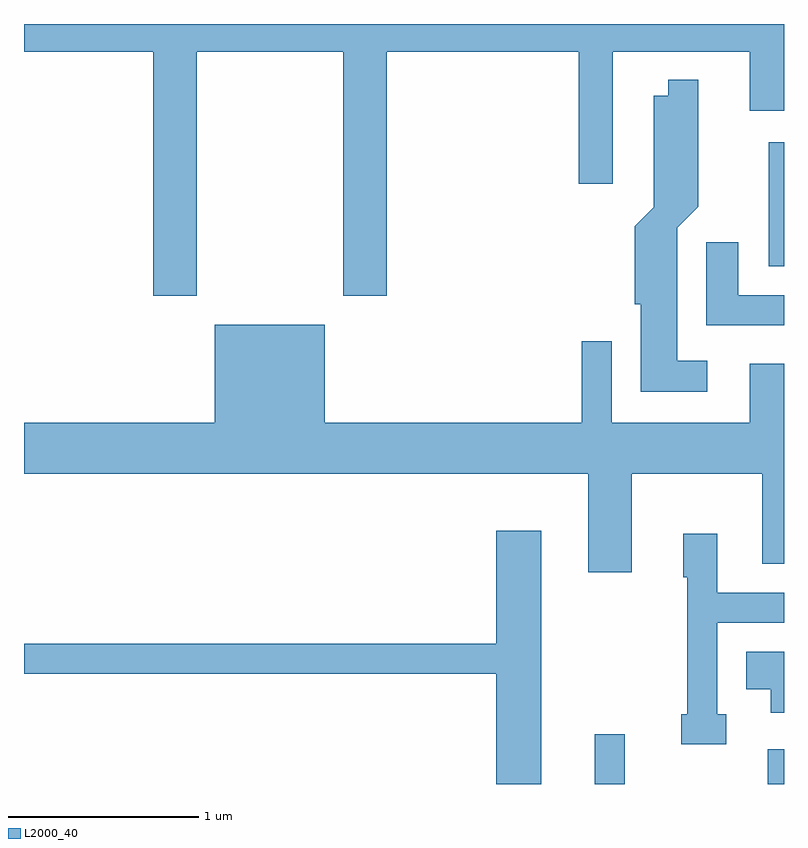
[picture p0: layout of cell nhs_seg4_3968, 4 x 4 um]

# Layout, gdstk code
import gdstk
lib = gdstk.Library(unit=1e-6, precision=1e-09)
def R(c, l, rs):  # rectangles x0, y0, x1, y1
    for r in rs: c.add(gdstk.rectangle(r[:2], r[2:], *l))
def P(c, l, *ps):  # polygons
    for p in ps: c.add(gdstk.Polygon(p, *l))
L2000_40 = (2000, 40)

nhs_seg4_3968 = lib.new_cell('nhs_seg4_3968')
R(nhs_seg4_3968, L2000_40, [(304.616,1301.982,304.774,1302.243), (305.526,1301.982,305.611,1302.164), (305.531,1304.706,305.611,1305.359)])
P(nhs_seg4_3968, L2000_40, [(302.519,1305.836),(303.291,1305.836),(303.291,1304.551),(303.519,1304.551),(303.519,1305.836),(304.531,1305.836),(304.531,1305.141),(304.709,1305.141),(304.709,1305.836),(305.431,1305.836),(305.431,1305.526),(305.611,1305.526),(305.611,1305.982),(301.611,1305.982),(301.611,1305.836),(302.291,1305.836),(302.291,1304.551),(302.519,1304.551)],
  [(305.208,1304.209),(305.049,1304.209),(305.049,1304.909),(305.159,1305.019),(305.159,1305.688),(305.001,1305.688),(305.001,1305.604),(304.926,1305.604),(304.926,1305.017),(304.826,1304.917),(304.826,1304.506),(304.856,1304.506),(304.856,1304.046),(305.208,1304.046)],
  [(305.611,1304.554),(305.369,1304.554),(305.369,1304.833),(305.201,1304.833),(305.201,1304.396),(305.611,1304.396)],
  [(304.809,1303.616),(305.496,1303.616),(305.496,1303.141),(305.611,1303.141),(305.611,1304.194),(305.431,1304.194),(305.431,1303.884),(304.704,1303.884),(304.704,1304.313),(304.546,1304.313),(304.546,1303.884),(303.194,1303.884),(303.194,1304.399),(302.616,1304.399),(302.616,1303.884),(301.611,1303.884),(301.611,1303.616),(304.581,1303.616),(304.581,1303.096),(304.809,1303.096)],
  [(304.334,1303.314),(304.096,1303.314),(304.096,1302.719),(301.611,1302.719),(301.611,1302.561),(304.096,1302.561),(304.096,1301.982),(304.334,1301.982)],
  [(305.308,1302.349),(305.259,1302.349),(305.259,1302.831),(305.611,1302.831),(305.611,1302.989),(305.259,1302.989),(305.259,1303.299),(305.081,1303.299),(305.081,1303.071),(305.101,1303.071),(305.101,1302.349),(305.071,1302.349),(305.071,1302.191),(305.308,1302.191)],
  [(305.611,1302.679),(305.411,1302.679),(305.411,1302.481),(305.541,1302.481),(305.541,1302.356),(305.611,1302.356)])

lib.write_gds('nhs_seg4_3968.gds')
